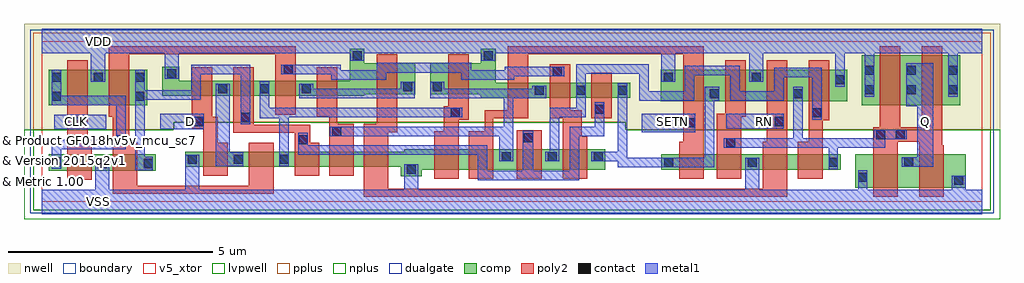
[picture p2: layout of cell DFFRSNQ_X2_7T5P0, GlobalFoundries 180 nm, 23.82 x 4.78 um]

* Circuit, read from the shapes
.subckt DFFRSNQ_X2_7T5P0 CLK D Q RN SETN VDD VSS
XM1 VSS CLK n1 VSUBS nfet_05v0 w=0.405u l=0.6u
XM2 n2 n1 VSS VSUBS nfet_05v0 w=0.405u l=0.6u
XM3 n3 D VSS VSUBS nfet_05v0 w=0.365u l=0.6u
XM4 n4 n1 n3 VSUBS nfet_05v0 w=0.365u l=0.6u
XM5 n5 n2 n4 VSUBS nfet_05v0 w=0.365u l=0.6u
XM6 n6 n7 n5 VSUBS nfet_05v0 w=0.365u l=0.6u
XM7 VSS RN n6 VSUBS nfet_05v0 w=0.365u l=0.6u
XM8 n8 n4 VSS VSUBS nfet_05v0 w=0.505u l=0.6u
XM9 n7 SETN n8 VSUBS nfet_05v0 w=0.505u l=0.6u
XM10 n9 n2 n7 VSUBS nfet_05v0 w=0.505u l=0.6u
XM11 n10 n1 n9 VSUBS nfet_05v0 w=0.505u l=0.6u
XM12 n11 SETN n10 VSUBS nfet_05v0 w=0.38u l=0.6u
XM13 VSS n12 n11 VSUBS nfet_05v0 w=0.38u l=0.6u
XM14 n13 RN VSS VSUBS nfet_05v0 w=0.38u l=0.6u
XM15 n12 n9 n13 VSUBS nfet_05v0 w=0.38u l=0.6u
XM16 Q n12 VSS VSUBS nfet_05v0 w=0.815u l=0.6u m=2
XM17 VDD CLK n1 n14 pfet_05v0 w=0.865u l=0.5u
XM18 n2 n1 VDD n14 pfet_05v0 w=0.865u l=0.5u
XM19 n3 D VDD n14 pfet_05v0 w=0.365u l=0.5u
XM20 n4 n2 n3 n14 pfet_05v0 w=0.365u l=0.5u
XM21 n15 n1 n4 n14 pfet_05v0 w=0.365u l=0.5u
XM22 VDD n7 n15 n14 pfet_05v0 w=0.365u l=0.5u
XM23 n15 RN VDD n14 pfet_05v0 w=0.755u l=0.5u
XM24 VDD n4 n7 n14 pfet_05v0 w=0.755u l=0.5u
XM25 n7 SETN VDD n14 pfet_05v0 w=0.36u l=0.5u
XM26 n9 n1 n7 n14 pfet_05v0 w=0.36u l=0.5u
XM27 n10 n2 n9 n14 pfet_05v0 w=0.36u l=0.5u
XM28 n10 SETN VDD n14 pfet_05v0 w=0.77u l=0.5u
XM29 VDD n12 n10 n14 pfet_05v0 w=0.77u l=0.5u
XM30 n12 RN VDD n14 pfet_05v0 w=0.77u l=0.5u
XM31 VDD n9 n12 n14 pfet_05v0 w=0.77u l=0.5u
XM32 Q n12 VDD n14 pfet_05v0 w=1.215u l=0.5u m=2
.ends

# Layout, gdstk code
import gdstk
lib = gdstk.Library(unit=1e-6, precision=1e-09)
def R(c, l, rs):  # rectangles x0, y0, x1, y1
    for r in rs: c.add(gdstk.rectangle(r[:2], r[2:], *l))
def A(c, l, x, y, w, h, nx, ny, dx, dy):  # array of equal rectangles
    R(c, l, [(x+i*dx, y+j*dy, x+i*dx+w, y+j*dy+h) for i in range(nx) for j in range(ny)])
def P(c, l, *ps):  # polygons
    for p in ps: c.add(gdstk.Polygon(p, *l))
boundary = (0, 0)
nwell = (21, 0)
comp = (22, 0)
poly2 = (30, 0)
pplus = (31, 0)
nplus = (32, 0)
contact = (33, 0)
metal1 = (34, 0)
dualgate = (55, 0)
v5_xtor = (112, 1)
lvpwell = (204, 0)

dffrsnq_x2_7t5p0 = lib.new_cell('DFFRSNQ_X2_7T5P0')
R(dffrsnq_x2_7t5p0, boundary, [(0,0,22.96,3.92)])
P(dffrsnq_x2_7t5p0, nwell, [(-0.43,1.76),(3.225,1.76),(3.225,1.94),(14.255,1.94),(14.255,1.76),(23.39,1.76),(23.39,4.35),(-0.43,4.35)])
R(dffrsnq_x2_7t5p0, comp, [(19.86,0.345,22.56,1.16), (0.18,0.755,2.78,1.16), (15.12,0.78,19.5,1.16), (0.18,2.36,2.58,3.225), (20.02,2.36,22.42,3.575), (15.115,2.455,19.66,3.225)])
P(dffrsnq_x2_7t5p0, comp, [(2.94,2.585),(7.88,2.585),(7.88,2.63),(9.12,2.63),(9.12,3.385),(7.88,3.385),(7.88,3.74),(7.52,3.74),(7.52,2.95),(3.36,2.95),(3.36,3.3),(2.94,3.3)],
  [(3.5,0.855),(8.76,0.855),(8.76,0.62),(9.28,0.62),(9.28,0.78),(13.76,0.78),(13.76,1.285),(8.855,1.285),(8.855,1.22),(3.5,1.22)],
  [(9.48,2.63),(10.72,2.63),(10.72,2.54),(14.36,2.54),(14.36,2.9),(11.08,2.9),(11.08,3.74),(10.72,3.74),(10.72,3.385),(9.48,3.385)])
R(dffrsnq_x2_7t5p0, poly2, [(11.6,0.56,12.2,1.745), (13.42,2.035,13.92,3.15)])
P(dffrsnq_x2_7t5p0, poly2, [(0.62,0.535),(1.22,0.535),(1.22,1.44),(1.12,1.44),(1.12,3.45),(0.62,3.45)],
  [(3.66,1.78),(3.94,1.78),(3.94,0.635),(4.54,0.635),(4.54,1.44),(4.3,1.44),(4.3,2.08),(4.16,2.08),(4.16,3.28),(3.66,3.28)],
  [(2.14,3.6),(5.7,3.6),(5.7,2.12),(6.2,2.12),(6.2,3.8),(1.64,3.8),(1.64,2.08),(1.74,2.08),(1.74,0.195),(5.66,0.195),(5.66,1.44),(5.06,1.44),(5.06,0.395),(2.34,0.395),(2.34,1.44),(2.14,1.44)],
  [(4.68,1.68),(6.18,1.68),(6.18,0.635),(6.78,0.635),(6.78,1.44),(6.56,1.44),(6.56,1.88),(5.18,1.88),(5.18,3.28),(4.68,3.28)],
  [(6.72,2.08),(7.02,2.08),(7.02,0.635),(7.62,0.635),(7.62,1.9),(7.22,1.9),(7.22,3.28),(6.72,3.28)],
  [(9.58,0.56),(10.18,0.56),(10.18,2),(10.42,2),(10.42,3.605),(9.92,3.605),(9.92,2.33),(9.82,2.33),(9.82,1.72),(9.58,1.72)],
  [(12.4,2.04),(12.72,2.04),(12.72,0.56),(13.32,0.56),(13.32,1.605),(13.18,1.605),(13.18,2.24),(12.9,2.24),(12.9,3.36),(12.4,3.36)],
  [(10.42,0.56),(11.02,0.56),(11.02,2.04),(11.88,2.04),(11.88,3.6),(15.66,3.6),(15.66,1.465),(15.56,1.465),(15.56,0.56),(16.16,0.56),(16.16,3.8),(11.38,3.8),(11.38,2.24),(10.82,2.24),(10.82,1.72),(10.42,1.72)],
  [(16.48,0.56),(17.08,0.56),(17.08,2.08),(17.18,2.08),(17.18,3.45),(16.68,3.45),(16.68,2.155),(16.48,2.155)],
  [(7.86,0.12),(18.2,0.12),(18.2,3.45),(17.7,3.45),(17.7,1.465),(17.6,1.465),(17.6,0.32),(8.46,0.32),(8.46,1.7),(8.68,1.7),(8.68,3.605),(8.18,3.605),(8.18,1.9),(7.86,1.9)],
  [(18.46,0.56),(19.06,0.56),(19.06,1.995),(19.22,1.995),(19.22,3.45),(18.72,3.45),(18.72,1.465),(18.46,1.465)],
  [(20.3,0.12),(20.9,0.12),(20.9,1.46),(21.42,1.46),(21.42,0.12),(22.02,0.12),(22.02,1.38),(21.98,1.38),(21.98,3.8),(21.48,3.8),(21.48,1.82),(20.96,1.82),(20.96,3.8),(20.46,3.8),(20.46,1.82),(20.3,1.82)])
P(dffrsnq_x2_7t5p0, pplus, [(-0.2,1.76),(3.225,1.76),(3.225,1.94),(14.255,1.94),(14.255,1.76),(23.16,1.76),(23.16,4.12),(-0.2,4.12)])
P(dffrsnq_x2_7t5p0, nplus, [(-0.2,-0.2),(23.16,-0.2),(23.16,1.76),(14.255,1.76),(14.255,1.94),(3.225,1.94),(3.225,1.76),(-0.2,1.76)])
A(dffrsnq_x2_7t5p0, contact, 3.57, 0.925, 0.22, 0.22, 3, 1, 1.12, 0)
A(dffrsnq_x2_7t5p0, contact, 11.23, 0.995, 0.22, 0.22, 3, 1, 1.12, 0)
A(dffrsnq_x2_7t5p0, contact, 12.03, 2.61, 0.22, 0.22, 3, 1, 1.02, 0)
A(dffrsnq_x2_7t5p0, contact, 20.09, 2.63, 0.22, 0.22, 3, 2, 1.02, 0.47)
A(dffrsnq_x2_7t5p0, contact, 4.31, 2.655, 0.22, 0.22, 3, 1, 1.02, 0)
A(dffrsnq_x2_7t5p0, contact, 0.25, 2.935, 0.22, 0.22, 3, 1, 1.02, 0)
R(dffrsnq_x2_7t5p0, contact, [(22.27,0.415,22.49,0.635), (19.93,0.485,20.15,0.705), (8.91,0.69,9.13,0.91), (1.37,0.825,1.59,1.045), (2.49,0.825,2.71,1.045), (15.19,0.85,15.41,1.07), (17.23,0.85,17.45,1.07), (19.21,0.85,19.43,1.07), (21.05,0.865,21.27,1.085), (0.25,0.87,0.47,1.09), (16.705,1.33,16.925,1.55), (1.83,1.405,2.05,1.625), (6.27,1.405,6.49,1.625), (11.765,1.455,11.985,1.675), (20.37,1.53,20.59,1.75), (20.84,1.53,21.06,1.75), (7.09,1.61,7.31,1.83), (15.73,1.82,15.95,2.04), (0.73,1.85,0.95,2.07), (3.73,1.85,3.95,2.07), (17.89,1.85,18.11,2.07), (4.87,1.955,5.09,2.175), (18.81,2.065,19.03,2.285), (9.99,2.07,10.21,2.29), (13.51,2.15,13.73,2.37), (0.25,2.465,0.47,2.685), (2.29,2.465,2.51,2.685), (16.31,2.525,16.53,2.745), (18.35,2.525,18.57,2.745), (8.83,2.7,9.05,2.92), (9.55,2.7,9.77,2.92), (19.37,2.87,19.59,3.09), (15.185,2.935,15.405,3.155), (17.33,2.935,17.55,3.155), (3.07,3.01,3.29,3.23), (12.47,3.07,12.69,3.29), (5.91,3.12,6.13,3.34), (7.59,3.45,7.81,3.67), (10.79,3.45,11.01,3.67)])
R(dffrsnq_x2_7t5p0, metal1, [(14.65,1.7,15.955,2.15), (0.31,1.77,1.575,2.13), (2.89,1.77,3.96,2.15), (16.715,1.785,18.115,2.15)])
P(dffrsnq_x2_7t5p0, metal1, [(0.245,2.36),(1.825,2.36),(1.825,1.51),(0.245,1.51),(0.245,0.81),(0.475,0.81),(0.475,1.28),(2.055,1.28),(2.055,2.59),(0.475,2.59),(0.475,3.225),(0.245,3.225)],
  [(4.25,0.865),(4.915,0.865),(4.915,1.205),(4.59,1.205),(4.59,2.88),(4.25,2.88)],
  [(2.515,2.49),(3.88,2.49),(3.88,3.11),(4.865,3.11),(4.865,1.895),(5.095,1.895),(5.095,3.34),(3.65,3.34),(3.65,2.725),(2.515,2.725),(2.515,3.225),(2.285,3.225),(2.285,0.765),(2.715,0.765),(2.715,1.105),(2.515,1.105)],
  [(6.29,2.525),(9.11,2.525),(9.11,2.925),(8.77,2.925),(8.77,2.755),(6.63,2.755),(6.63,2.88),(6.29,2.88)],
  [(5.325,2.04),(5.805,2.04),(5.805,0.865),(6.035,0.865),(6.035,2.065),(10.27,2.065),(10.27,2.295),(5.555,2.295),(5.555,2.94),(5.325,2.94)],
  [(9.49,2.525),(11.28,2.525),(11.28,1.835),(7.03,1.835),(7.03,1.605),(11.17,1.605),(11.17,0.99),(11.51,0.99),(11.51,2.525),(12.31,2.525),(12.31,2.835),(11.97,2.835),(11.97,2.755),(9.83,2.755),(9.83,2.925),(9.49,2.925)],
  [(5.85,3.11),(7.07,3.11),(7.07,2.985),(8.41,2.985),(8.41,3.155),(10.245,3.155),(10.245,2.985),(11.53,2.985),(11.53,3.065),(12.75,3.065),(12.75,3.295),(11.3,3.295),(11.3,3.215),(10.48,3.215),(10.48,3.39),(8.18,3.39),(8.18,3.215),(7.3,3.215),(7.3,3.345),(5.85,3.345)],
  [(6.265,1.145),(10.65,1.145),(10.65,0.53),(13.125,0.53),(13.125,1.6),(13.735,1.6),(13.735,2.43),(13.505,2.43),(13.505,1.83),(12.895,1.83),(12.895,0.76),(12,0.76),(12,1.735),(11.745,1.735),(11.745,0.76),(10.88,0.76),(10.88,1.375),(6.495,1.375),(6.495,1.685),(6.265,1.685)],
  [(13.41,0.99),(14.065,0.99),(14.065,0.845),(16.415,0.845),(16.415,2.465),(16.535,2.465),(16.535,2.805),(16.185,2.805),(16.185,1.075),(14.295,1.075),(14.295,2.89),(14.065,2.89),(14.065,1.22),(13.41,1.22)],
  [(12.29,0.99),(12.63,0.99),(12.63,2.06),(13.275,2.06),(13.275,3.12),(14.585,3.12),(14.585,2.465),(15.925,2.465),(15.925,3.09),(16.805,3.09),(16.805,2.465),(18.115,2.465),(18.115,3.035),(18.805,3.035),(18.805,2.005),(19.035,2.005),(19.035,3.27),(17.885,3.27),(17.885,2.7),(17.035,2.7),(17.035,3.325),(15.695,3.325),(15.695,2.7),(14.815,2.7),(14.815,3.355),(13.045,3.355),(13.045,2.295),(12.4,2.295),(12.4,1.22),(12.29,1.22)],
  [(16.645,1.325),(19.205,1.325),(19.205,0.79),(19.435,0.79),(19.435,1.325),(20.595,1.325),(20.595,1.525),(21.12,1.525),(21.12,1.755),(20.305,1.755),(20.305,1.555),(18.575,1.555),(18.575,2.805),(18.345,2.805),(18.345,1.555),(16.645,1.555)],
  [(21.1,2.33),(21.37,2.33),(21.37,1.09),(20.99,1.09),(20.99,0.86),(21.755,0.86),(21.755,3.38),(21.1,3.38)],
  [(0,-0.3),(22.96,-0.3),(22.96,0.3),(22.55,0.3),(22.55,0.64),(22.21,0.64),(22.21,0.3),(20.155,0.3),(20.155,0.765),(19.925,0.765),(19.925,0.3),(17.51,0.3),(17.51,1.075),(17.17,1.075),(17.17,0.3),(9.19,0.3),(9.19,0.915),(8.85,0.915),(8.85,0.3),(3.85,0.3),(3.85,1.15),(3.51,1.15),(3.51,0.3),(1.65,0.3),(1.65,1.05),(1.31,1.05),(1.31,0.3),(0,0.3)],
  [(0,3.62),(1.205,3.62),(1.205,2.93),(1.555,2.93),(1.555,3.62),(3.01,3.62),(3.01,3.005),(3.35,3.005),(3.35,3.62),(7.53,3.62),(7.53,3.445),(7.87,3.445),(7.87,3.62),(10.73,3.62),(10.73,3.445),(11.07,3.445),(11.07,3.62),(15.125,3.62),(15.125,2.93),(15.465,2.93),(15.465,3.62),(17.27,3.62),(17.27,2.93),(17.61,2.93),(17.61,3.62),(19.365,3.62),(19.365,2.81),(19.595,2.81),(19.595,3.62),(20.085,3.62),(20.085,2.57),(20.315,2.57),(20.315,3.62),(22.125,3.62),(22.125,2.57),(22.355,2.57),(22.355,3.62),(22.96,3.62),(22.96,4.22),(0,4.22)])
R(dffrsnq_x2_7t5p0, dualgate, [(-0.28,-0.28,23.24,4.2)])
R(dffrsnq_x2_7t5p0, v5_xtor, [(0,0,22.96,3.92)])
P(dffrsnq_x2_7t5p0, lvpwell, [(-0.43,-0.43),(23.39,-0.43),(23.39,1.76),(14.255,1.76),(14.255,1.94),(3.225,1.94),(3.225,1.76),(-0.43,1.76)])
dffrsnq_x2_7t5p0.add(gdstk.Label('RN', (17.64,1.96), layer=34, texttype=10))
dffrsnq_x2_7t5p0.add(gdstk.Label('D', (3.64,1.96), layer=34, texttype=10))
dffrsnq_x2_7t5p0.add(gdstk.Label('Q', (21.56,1.96), layer=34, texttype=10))
dffrsnq_x2_7t5p0.add(gdstk.Label('CLK', (0.84,1.96), layer=34, texttype=10))
dffrsnq_x2_7t5p0.add(gdstk.Label('VSS', (1.4,0), layer=34, texttype=10))
dffrsnq_x2_7t5p0.add(gdstk.Label('VDD', (1.4,3.92), layer=34, texttype=10))
dffrsnq_x2_7t5p0.add(gdstk.Label('SETN', (15.4,1.96), layer=34, texttype=10))
dffrsnq_x2_7t5p0.add(gdstk.Label('& Vendor GLOBALFOUNDRIES', (0,2), layer=63, texttype=63))
dffrsnq_x2_7t5p0.add(gdstk.Label('& Product GF018hv5v_mcu_sc7', (0,1.5), layer=63, texttype=63))
dffrsnq_x2_7t5p0.add(gdstk.Label('& Version 2015q2v1', (0,1), layer=63, texttype=63))
dffrsnq_x2_7t5p0.add(gdstk.Label('& Metric 1.00', (0,0.5), layer=63, texttype=63))

lib.write_gds('DFFRSNQ_X2_7T5P0.gds')
